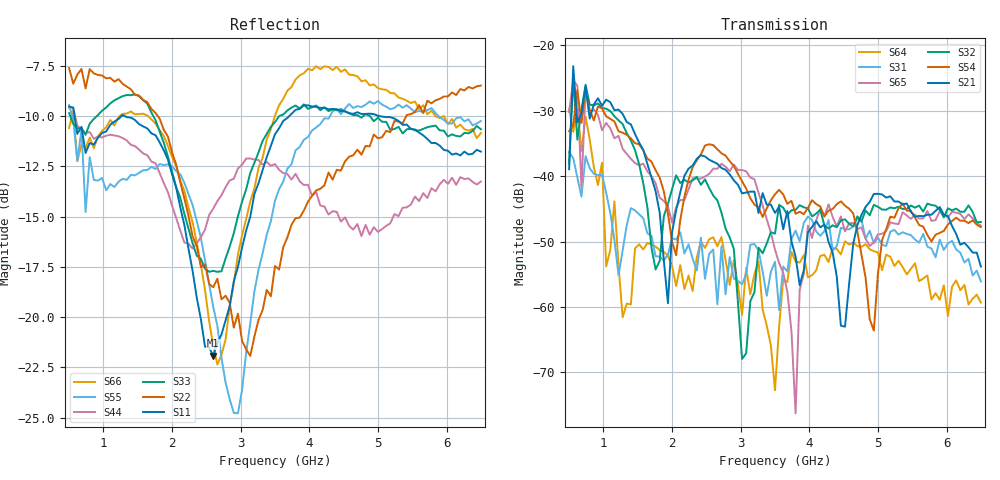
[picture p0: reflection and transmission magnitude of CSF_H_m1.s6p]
!Keysight Technologies,M9804A,MY58100912,A.14.10.03
!Date: Thursday, April 27, 2023 10:28:33
!Correction: S11(C  6-Port  )
!S12(C  6-Port  )
!S13(C  6-Port  )
!S14(C  6-Port  )
!S15(C  6-Port  )
!S16(C  6-Port  )
!S21(C  6-Port  )
!S22(C  6-Port  )
!S23(C  6-Port  )
!S24(C  6-Port  )
!S25(C  6-Port  )
!S26(C  6-Port  )
!S31(C  6-Port  )
!S32(C  6-Port  )
!S33(C  6-Port  )
!S34(C  6-Port  )
!S35(C  6-Port  )
!S36(C  6-Port  )
!S41(C  6-Port  )
!S42(C  6-Port  )
!S43(C  6-Port  )
!S44(C  6-Port  )
!S45(C  6-Port  )
!S46(C  6-Port  )
!S51(C  6-Port  )
!S52(C  6-Port  )
!S53(C  6-Port  )
!S54(C  6-Port  )
!S55(C  6-Port  )
!S56(C  6-Port  )
!S61(C  6-Port  )
!S62(C  6-Port  )
!S63(C  6-Port  )
!S64(C  6-Port  )
!S65(C  6-Port  )
!S66(C  6-Port  )
!S6P File: Measurement: :
# Hz S  RI  R 50
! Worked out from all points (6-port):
!   101 points, 500 MHz to 6.5 GHz, reference 50 ohm
!   strongest paths, dB at 500 MHz, 2 GHz, 3.5 GHz, 5 GHz, 6.5 GHz:
!     S21: -38.9, -48.6, -45.6, -42.7, -53.8
!     S54: -33.1, -50.0, -42.8, -54.9, -47.8
!     S32: -38.0, -42.0, -48.8, -44.7, -47.0
!     S65: -30.2, -47.1, -51.2, -48.9, -47.6
!     S31: -36.3, -49.4, -53.1, -49.4, -56.1
!     S64: -29.7, -53.7, -72.7, -51.7, -59.3
!   lowest |S11| = -21.9 dB at 2.6 GHz (marker M1), VSWR 1.17, Z = 42.8 + j1.96 ohm
!   |S11| at or under -10 dB: 578.9 MHz to 1.268 GHz (688.9 MHz wide, 74.6 % of centre); 1.303 GHz to 3.71 GHz (2.407 GHz wide, 96 % of centre); 5.009 GHz to end of sweep
